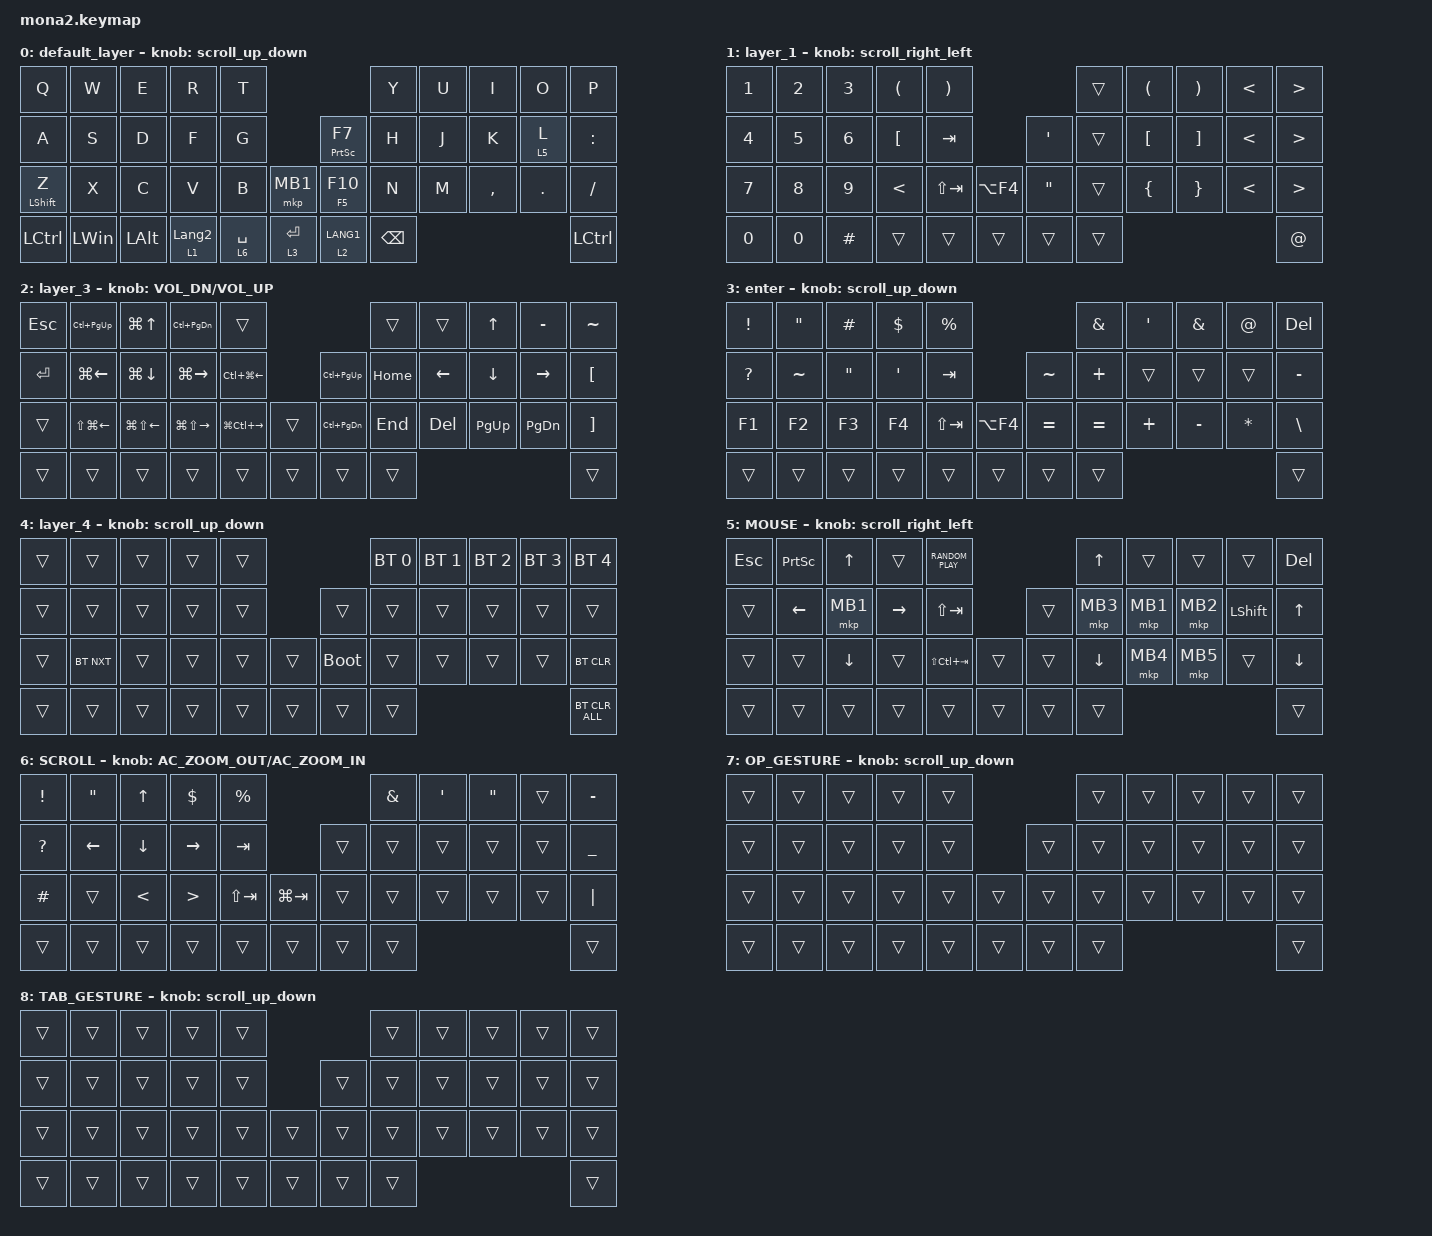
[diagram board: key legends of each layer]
#include <input/processors.dtsi>
#include <dt-bindings/zmk/input_transform.h>
#include <zephyr/dt-bindings/input/input-event-codes.h>
#include <input/processors/zmk-input-processor-keybind.dtsi>
#include <behaviors.dtsi>
#include <dt-bindings/zmk/bt.h>
#include <dt-bindings/zmk/keys.h>
#include <dt-bindings/zmk/pointing.h>

#define ZMK_POINTING_DEFAULT_SCRL_VAL 100
#define MOUSE 5
#define SCROLL 6
#define OP_GESTURE 7
#define TAB_GESTURE 8

&mt {
    flavor = "balanced";
    quick-tap-ms = <0>;
};

&lt {
    tapping-term-ms = <300>;
    quick-tap-ms = <300>;
    flavor = "balanced";
};

/ {
    combos {
        compatible = "zmk,combos";

        layer4_ESC {
            bindings = <&lt 5 ESC>;
            key-positions = <39 38>;
        };

        tab {
            bindings = <&kp TAB>;
            key-positions = <11 12>;
        };

        ctrl {
            bindings = <&kp RCTRL>;
            key-positions = <31 30>;
        };

        ctrl+shift {
            bindings = <&kp RS(RCTRL)>;
            key-positions = <31 30 29>;
        };

        op_gesture {
            bindings = <&lt OP_GESTURE LA(TAB)>;
            key-positions = <8 9>;
        };

        tab_gesture {
            bindings = <&mo TAB_GESTURE>;
            key-positions = <1 0>;
        };
    };

    macros {
        to_layer_0: to_layer_0 {
            compatible = "zmk,behavior-macro-one-param";
            #binding-cells = <1>;
            bindings = <&to 0 &macro_param_1to1 &kp MACRO_PLACEHOLDER>;
            label = "TO_LAYER_0";
        };
    };

    behaviors {
        alpha_mt: alpha_mt {
            compatible = "zmk,behavior-hold-tap";
            label = "ALPHA_MOD_TAP";
            bindings = <&kp>, <&kp>;

            #binding-cells = <2>;
            tapping-term-ms = <400>;
            flavor = "balanced";
            retro-tap;
        };

        alpha_lt_to_layer_0: alpha_lt_to_layer_0 {
            compatible = "zmk,behavior-hold-tap";
            label = "ALPHA_LAYER_TAP_TO_0";
            bindings = <&mo>, <&to_layer_0>;

            #binding-cells = <2>;
            tapping-term-ms = <400>;
            retro-tap;
        };

        lt_to_layer_0: lt_to_layer_0 {
            compatible = "zmk,behavior-hold-tap";
            label = "LAYER_TAP_TO_0";
            bindings = <&mo>, <&to_layer_0>;

            #binding-cells = <2>;
            tapping-term-ms = <300>;
        };

        scroll_up_down: mouse_wheel_up_down {
            compatible = "zmk,behavior-sensor-rotate";
            #sensor-binding-cells = <0>;
            bindings = <&msc SCRL_DOWN>, <&msc SCRL_UP>;

            tap-ms = <18>;
        };

        scroll_right_left: mouse_wheel_right_left {
            compatible = "zmk,behavior-sensor-rotate";
            #sensor-binding-cells = <0>;
            bindings = <&msc SCRL_LEFT>, <&msc SCRL_RIGHT>;

            tap-ms = <18>;
        };
    };

    input_processors {
        gesture_keybind: gesture_keybind {
            compatible = "zmk,input-processor-keybind";
            #input-processor-cells = <0>;
            track_remainders;
            mode = <1>;
            bindings =
                <&kp LC(LG(RIGHT_ARROW))>,
                <&kp LC(LG(LEFT_ARROW))>,
                <&kp LG(TAB)>,
                <&kp LG(D)>;

            tick = <150>;
            wait-ms = <250>;
            tap-ms = <10>;
            max_pending_activations = <1>;
        };

        op_gesture_keybind: op_gesture_keybind {
            compatible = "zmk,input-processor-keybind";
            #input-processor-cells = <0>;
            track_remainders;
            mode = <1>;
            bindings =
                <&kp LC(LG(RIGHT_ARROW))>,
                <&kp LC(LG(LEFT_ARROW))>,
                <&kp LG(TAB)>,
                <&kp LG(D)>;

            tick = <150>;
            wait-ms = <250>;
            tap-ms = <10>;
            max_pending_activations = <1>;
        };

        tab_gesture_keybind: tab_gesture_keybind {
            compatible = "zmk,input-processor-keybind";
            #input-processor-cells = <0>;
            track_remainders;
            mode = <1>;
            bindings =
                <&kp LC(TAB)>,
                <&kp LC(LS(TAB))>,
                <&kp LC(T)>,
                <&kp LC(W)>;

            tick = <150>;
            wait-ms = <250>;
            tap-ms = <10>;
            max_pending_activations = <1>;
        };
    };

    keymap {
        compatible = "zmk,keymap";

        default_layer {
            bindings = <
&kp Q                   &kp W         &kp E         &kp R             &kp T                                                          &kp Y          &kp U  &kp I      &kp O                     &kp P
&kp A                   &kp S         &kp D         &kp F             &kp G                                  &mt PRINTSCREEN F7      &kp H          &kp J  &kp K      &alpha_lt_to_layer_0 5 L  &kp COLON
&alpha_mt LEFT_SHIFT Z  &kp X         &kp C         &kp V             &kp B        &mkp MB1                  &mt F5 F10              &kp N          &kp M  &kp COMMA  &kp DOT                   &kp SLASH
&kp LCTRL               &kp LEFT_WIN  &kp LEFT_ALT  &lt 1 LANGUAGE_2  &lt 6 SPACE  &lt_to_layer_0 3 ENTER    &lt_to_layer_0 2 LANG1  &kp BACKSPACE                                              &kp LCTRL
            >;

            sensor-bindings = <&scroll_up_down>;
        };

        layer_1 {
            bindings = <
&kp NUMBER_1  &kp NUMBER_2  &kp NUMBER_3  &kp LEFT_PARENTHESIS  &kp RIGHT_PARENTHESIS                                   &trans  &kp LPAR  &kp RPAR  &kp LESS_THAN  &kp GREATER_THAN
&kp NUMBER_4  &kp N5        &kp NUMBER_6  &kp LEFT_BRACKET      &kp TAB                              &kp SQT            &trans  &kp LBKT  &kp RBKT  &kp LESS_THAN  &kp GREATER_THAN
&kp N7        &kp N8        &kp N9        &kp LESS_THAN         &kp LS(TAB)            &kp LA(F4)    &kp DOUBLE_QUOTES  &trans  &kp LBRC  &kp RBRC  &kp LESS_THAN  &kp GREATER_THAN
&kp N0        &kp N0        &kp HASH      &trans                &trans                 &trans        &trans             &trans                                     &kp AT_SIGN
            >;

            sensor-bindings = <&scroll_right_left>;
        };

        layer_3 {
            bindings = <
&kp ESCAPE  &kp LC(PAGE_UP)     &kp LG(UP_ARROW)  &kp LC(PAGE_DOWN)  &trans                                          &trans    &trans          &kp UP_ARROW    &kp MINUS        &kp TILDE
&kp ENTER   &kp LG(LEFT_ARROW)  &kp LG(DOWN)      &kp LG(RIGHT)      &kp LC(LG(LEFT))             &kp LC(PAGE_UP)    &kp HOME  &kp LEFT_ARROW  &kp DOWN_ARROW  &kp RIGHT_ARROW  &kp LEFT_BRACKET
&trans      &kp LS(LG(LEFT))    &kp LG(LS(LEFT))  &kp LG(LS(RIGHT))  &kp LG(LC(RIGHT))  &trans    &kp LC(PAGE_DOWN)  &kp END   &kp DELETE      &kp PAGE_UP     &kp PAGE_DOWN    &kp RIGHT_BRACKET
&trans      &trans              &trans            &trans             &trans             &trans    &trans             &trans                                                     &trans
            >;

            sensor-bindings = <&inc_dec_kp C_VOL_DN C_VOL_UP>;
        };

        enter {
            bindings = <
&kp EXCLAMATION  &kp DOUBLE_QUOTES  &kp POUND          &kp DOLLAR  &kp PERCENT                           &kp AMPERSAND  &kp SQT   &kp AMPERSAND  &kp AT_SIGN   &kp DELETE
&kp QUESTION     &kp TILDE          &kp DOUBLE_QUOTES  &kp SQT     &kp TAB                    &kp TILDE  &kp PLUS       &trans    &trans         &trans        &kp MINUS
&kp F1           &kp F2             &kp F3             &kp F4      &kp LS(TAB)  &kp LA(F4)    &kp EQUAL  &kp EQUAL      &kp PLUS  &kp MINUS      &kp ASTERISK  &kp BACKSLASH
&trans           &trans             &trans             &trans      &trans       &trans        &trans     &trans                                                &trans
            >;

            sensor-bindings = <&scroll_up_down>;
        };

        layer_4 {
            bindings = <
&trans  &trans      &trans  &trans  &trans                         &bt BT_SEL 0  &bt BT_SEL 1  &bt BT_SEL 2  &bt BT_SEL 3  &bt BT_SEL 4
&trans  &trans      &trans  &trans  &trans            &trans       &trans        &trans        &trans        &trans        &trans
&trans  &bt BT_NXT  &trans  &trans  &trans  &trans    &bootloader  &trans        &trans        &trans        &trans        &bt BT_CLR
&trans  &trans      &trans  &trans  &trans  &trans    &trans       &trans                                                  &bt BT_CLR_ALL
            >;

            sensor-bindings = <&scroll_up_down>;
        };

        MOUSE {
            bindings = <
&kp ESCAPE  &kp PRINTSCREEN  &kp UP_ARROW    &trans           &kp C_RANDOM_PLAY                    &kp UP_ARROW  &trans    &trans    &trans          &kp DELETE
&trans      &kp LEFT         &mkp MB1        &kp RIGHT_ARROW  &kp LS(TAB)                  &trans  &mkp MB3      &mkp MB1  &mkp MB2  &kp LEFT_SHIFT  &kp UP_ARROW
&trans      &trans           &kp DOWN_ARROW  &trans           &kp LS(LC(TAB))    &trans    &trans  &kp DOWN      &mkp MB4  &mkp MB5  &trans          &kp DOWN
&trans      &trans           &trans          &trans           &trans             &trans    &trans  &trans                                            &trans
            >;

            sensor-bindings = <&scroll_right_left>;
        };

        SCROLL {
            bindings = <
&kp EXCLAMATION  &kp DOUBLE_QUOTES  &kp UP_ARROW   &kp DOLLAR        &kp PERCENT                         &kp AMPERSAND  &kp SQT  &kp DOUBLE_QUOTES  &trans  &kp MINUS
&kp QUESTION     &kp LEFT_ARROW     &kp DOWN       &kp RIGHT         &kp TAB                     &trans  &trans         &trans   &trans             &trans  &kp UNDER
&kp HASH         &trans             &kp LESS_THAN  &kp GREATER_THAN  &kp LS(TAB)  &kp LG(TAB)    &trans  &trans         &trans   &trans             &trans  &kp PIPE
&trans           &trans             &trans         &trans            &trans       &trans         &trans  &trans                                             &trans
            >;

            sensor-bindings = <&inc_dec_kp C_AC_ZOOM_OUT C_AC_ZOOM_IN>;
        };

        OP_GESTURE {
            bindings = <
&trans  &trans  &trans  &trans  &trans                    &trans  &trans  &trans  &trans  &trans
&trans  &trans  &trans  &trans  &trans            &trans  &trans  &trans  &trans  &trans  &trans
&trans  &trans  &trans  &trans  &trans  &trans    &trans  &trans  &trans  &trans  &trans  &trans
&trans  &trans  &trans  &trans  &trans  &trans    &trans  &trans                          &trans
            >;

            sensor-bindings = <&scroll_up_down>;
        };

        TAB_GESTURE {
            bindings = <
&trans  &trans  &trans  &trans  &trans                    &trans  &trans  &trans  &trans  &trans
&trans  &trans  &trans  &trans  &trans            &trans  &trans  &trans  &trans  &trans  &trans
&trans  &trans  &trans  &trans  &trans  &trans    &trans  &trans  &trans  &trans  &trans  &trans
&trans  &trans  &trans  &trans  &trans  &trans    &trans  &trans                          &trans
            >;

            sensor-bindings = <&scroll_up_down>;
        };
    };
};
